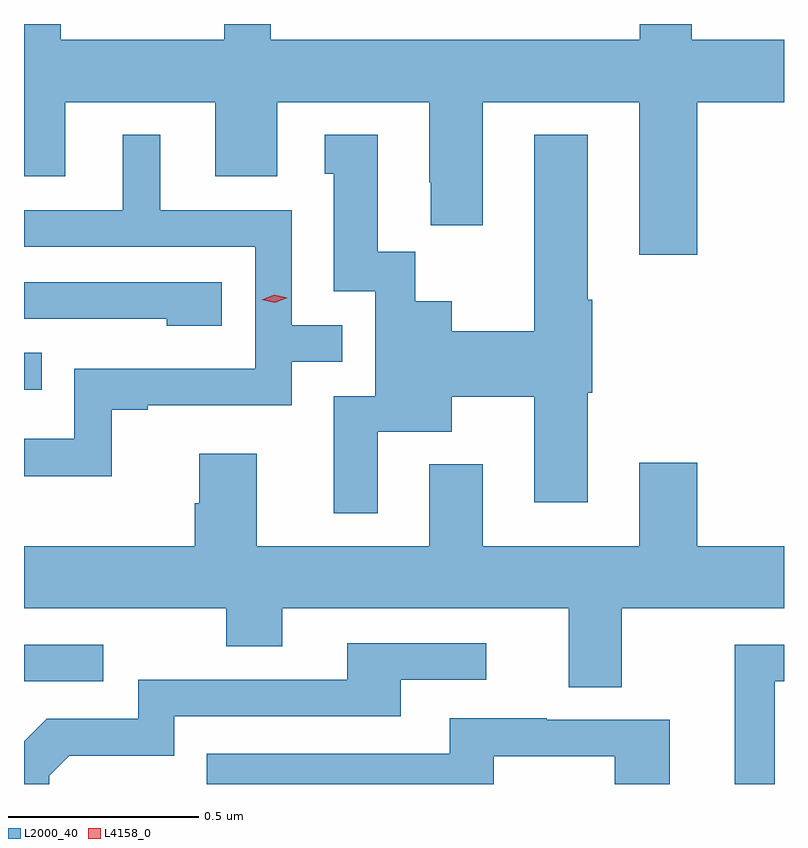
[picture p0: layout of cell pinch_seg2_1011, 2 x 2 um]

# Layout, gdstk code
import gdstk
lib = gdstk.Library(unit=1e-6, precision=1e-09)
def R(c, l, rs):  # rectangles x0, y0, x1, y1
    for r in rs: c.add(gdstk.rectangle(r[:2], r[2:], *l))
def P(c, l, *ps):  # polygons
    for p in ps: c.add(gdstk.Polygon(p, *l))
L2000_40 = (2000, 40)
L4158_0 = (4158, 0)

pinch_seg2_1011 = lib.new_cell('pinch_seg2_1011')
R(pinch_seg2_1011, L2000_40, [(172.812,651.441,173.02,651.537), (172.812,652.208,172.859,652.305)])
P(pinch_seg2_1011, L2000_40, [(174.584,652.964),(174.812,652.964),(174.812,653.128),(174.569,653.128),(174.569,653.17),(174.433,653.17),(174.433,653.128),(173.461,653.128),(173.461,653.17),(173.339,653.17),(173.339,653.128),(172.909,653.128),(172.909,653.17),(172.812,653.17),(172.812,652.77),(172.921,652.77),(172.921,652.964),(173.315,652.964),(173.315,652.77),(173.479,652.77),(173.479,652.964),(173.879,652.964),(173.879,652.753),(173.882,652.753),(173.882,652.641),(174.019,652.641),(174.019,652.964),(174.431,652.964),(174.431,652.563),(174.584,652.563)],
  [(173.743,652.097),(173.938,652.097),(173.938,652.189),(174.155,652.189),(174.155,651.912),(174.295,651.912),(174.295,652.2),(174.308,652.2),(174.308,652.444),(174.295,652.444),(174.295,652.879),(174.155,652.879),(174.155,652.361),(173.938,652.361),(173.938,652.441),(173.841,652.441),(173.841,652.571),(173.743,652.571),(173.743,652.879),(173.603,652.879),(173.603,652.776),(173.627,652.776),(173.627,652.467),(173.736,652.467),(173.736,652.191),(173.627,652.191),(173.627,651.882),(173.743,651.882)],
  [(173.043,652.155),(173.137,652.155),(173.137,652.167),(173.517,652.167),(173.517,652.281),(173.65,652.281),(173.65,652.377),(173.517,652.377),(173.517,652.68),(173.17,652.68),(173.17,652.879),(173.072,652.879),(173.072,652.68),(172.812,652.68),(172.812,652.584),(173.421,652.584),(173.421,652.263),(172.944,652.263),(172.944,652.078),(172.812,652.078),(172.812,651.98),(173.043,651.98)],
  [(173.332,652.491),(172.812,652.491),(172.812,652.395),(172.951,652.395),(172.951,652.394),(173.187,652.394),(173.187,652.376),(173.332,652.376)],
  [(174.385,651.632),(174.812,651.632),(174.812,651.796),(174.584,651.796),(174.584,652.015),(174.431,652.015),(174.431,651.796),(174.019,651.796),(174.019,652.012),(173.879,652.012),(173.879,651.796),(173.425,651.796),(173.425,652.039),(173.273,652.039),(173.273,651.909),(173.261,651.909),(173.261,651.796),(172.812,651.796),(172.812,651.632),(173.344,651.632),(173.344,651.533),(173.491,651.533),(173.491,651.632),(174.245,651.632),(174.245,651.424),(174.385,651.424)],
  [(172.878,651.192),(172.931,651.245),(173.208,651.245),(173.208,651.348),(173.803,651.348),(173.803,651.444),(174.028,651.444),(174.028,651.54),(173.663,651.54),(173.663,651.444),(173.112,651.444),(173.112,651.342),(172.872,651.342),(172.812,651.282),(172.812,651.17),(172.878,651.17)],
  [(174.787,651.441),(174.812,651.441),(174.812,651.537),(174.683,651.537),(174.683,651.17),(174.787,651.17)],
  [(174.048,651.243),(174.366,651.243),(174.366,651.17),(174.511,651.17),(174.511,651.339),(174.187,651.339),(174.187,651.343),(173.933,651.343),(173.933,651.249),(173.293,651.249),(173.293,651.17),(174.048,651.17)])
P(pinch_seg2_1011, L4158_0, [(173.472,652.437),(173.437,652.444),(173.437,652.444),(173.437,652.444),(173.47,652.457),(173.506,652.449),(173.506,652.449),(173.506,652.449)])

lib.write_gds('pinch_seg2_1011.gds')
